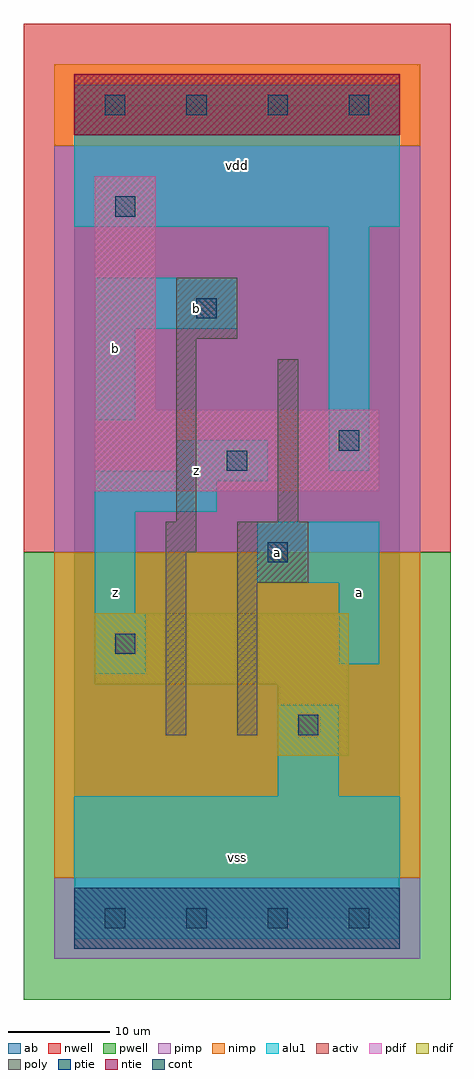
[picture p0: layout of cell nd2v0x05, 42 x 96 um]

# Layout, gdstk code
import gdstk
lib = gdstk.Library(unit=1e-6, precision=1e-09)
def R(c, l, rs):  # rectangles x0, y0, x1, y1
    for r in rs: c.add(gdstk.rectangle(r[:2], r[2:], *l))
def A(c, l, x, y, w, h, nx, ny, dx, dy):  # array of equal rectangles
    R(c, l, [(x+i*dx, y+j*dy, x+i*dx+w, y+j*dy+h) for i in range(nx) for j in range(ny)])
ndif = (3, 0)
pdif = (4, 0)
ntie = (5, 0)
ptie = (6, 0)
cont = (25, 0)
pwell = (41, 0)
nwell = (42, 0)
activ = (43, 0)
pimp = (44, 0)
nimp = (45, 0)
poly = (46, 0)
alu1 = (49, 0)
ab = (63, 0)

nd2v0x05 = lib.new_cell('nd2v0x05')
R(nd2v0x05, ndif, [(20,16,27,23), (2,23,27,30)])
R(nd2v0x05, pdif, [(2,42,30,50), (2,50,8,73)])
R(nd2v0x05, ntie, [(0,77,32,83)])
R(nd2v0x05, ptie, [(0,-3,32,3)])
A(nd2v0x05, cont, 3, -1, 2, 2, 4, 2, 8, 80)
R(nd2v0x05, cont, [(22,18,24,20), (4,26,6,28), (19,35,21,37), (15,44,17,46), (26,46,28,48), (12,59,14,61), (4,69,6,71)])
R(nd2v0x05, pwell, [(-5,-8,37,36)])
R(nd2v0x05, nwell, [(-5,36,37,88)])
R(nd2v0x05, activ, [(0,-3,32,3), (20,16,27,23), (2,23,27,30), (2,42,30,50), (2,50,8,73), (0,77,32,83)])
R(nd2v0x05, pimp, [(-2,-4,34,4), (-2,36,34,76)])
R(nd2v0x05, nimp, [(-2,4,34,36), (-2,76,34,84)])
R(nd2v0x05, poly, [(9,18,11,36), (16,18,18,33), (16,33,23,39), (9,36,12,39), (10,39,12,57), (20,39,22,55), (10,57,16,63)])
R(nd2v0x05, alu1, [(0,-2,32,12), (20,12,26,21), (2,24,7,30), (26,25,30,33), (2,30,6,40), (18,33,30,39), (2,40,14,43), (2,43,19,44), (10,44,19,47), (25,44,29,68), (2,49,6,58), (2,58,16,63), (0,68,32,82)])
R(nd2v0x05, ab, [(0,0,32,80)])
nd2v0x05.add(gdstk.Label('z', (4,32), layer=49, texttype=0))
nd2v0x05.add(gdstk.Label('b', (4,56), layer=49, texttype=0))
nd2v0x05.add(gdstk.Label('z', (12,44), layer=49, texttype=0))
nd2v0x05.add(gdstk.Label('b', (12,60), layer=49, texttype=0))
nd2v0x05.add(gdstk.Label('vss', (16,6), layer=49, texttype=0))
nd2v0x05.add(gdstk.Label('a', (20,36), layer=49, texttype=0))
nd2v0x05.add(gdstk.Label('vdd', (16,74), layer=49, texttype=0))
nd2v0x05.add(gdstk.Label('a', (28,32), layer=49, texttype=0))

lib.write_gds('nd2v0x05.gds')
